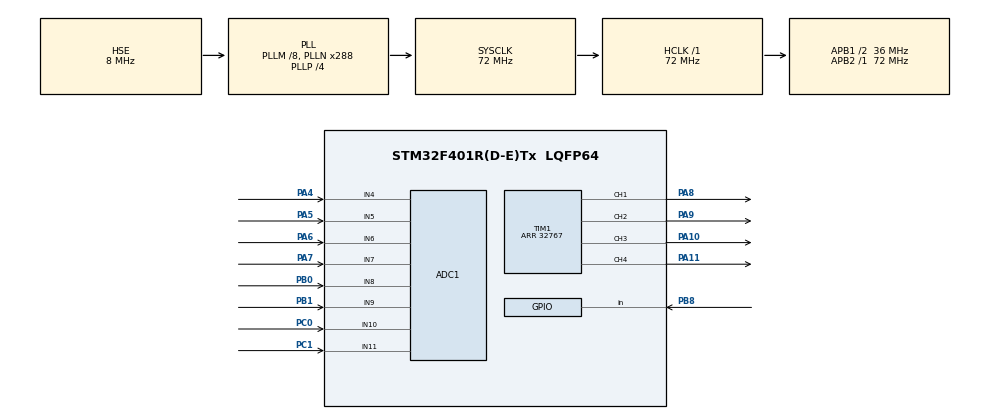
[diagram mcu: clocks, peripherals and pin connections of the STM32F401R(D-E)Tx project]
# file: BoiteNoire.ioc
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ADC1.Channel-10\#ChannelRegularConversion=ADC_CHANNEL_8
ADC1.Channel-11\#ChannelRegularConversion=ADC_CHANNEL_9
ADC1.Channel-4\#ChannelRegularConversion=ADC_CHANNEL_10
ADC1.Channel-5\#ChannelRegularConversion=ADC_CHANNEL_11
ADC1.Channel-6\#ChannelRegularConversion=ADC_CHANNEL_4
ADC1.Channel-7\#ChannelRegularConversion=ADC_CHANNEL_5
ADC1.Channel-8\#ChannelRegularConversion=ADC_CHANNEL_6
ADC1.Channel-9\#ChannelRegularConversion=ADC_CHANNEL_7
ADC1.ContinuousConvMode=ENABLE
ADC1.DMAContinuousRequests=ENABLE
ADC1.NbrOfConversion=8
ADC1.NbrOfConversionFlag=1
ADC1.Rank-10\#ChannelRegularConversion=7
ADC1.Rank-11\#ChannelRegularConversion=8
ADC1.Rank-4\#ChannelRegularConversion=1
ADC1.Rank-5\#ChannelRegularConversion=2
ADC1.Rank-6\#ChannelRegularConversion=3
ADC1.Rank-7\#ChannelRegularConversion=4
ADC1.Rank-8\#ChannelRegularConversion=5
ADC1.Rank-9\#ChannelRegularConversion=6
ADC1.SamplingTime-10\#ChannelRegularConversion=ADC_SAMPLETIME_480CYCLES
ADC1.SamplingTime-11\#ChannelRegularConversion=ADC_SAMPLETIME_480CYCLES
ADC1.SamplingTime-4\#ChannelRegularConversion=ADC_SAMPLETIME_480CYCLES
ADC1.SamplingTime-5\#ChannelRegularConversion=ADC_SAMPLETIME_480CYCLES
ADC1.SamplingTime-6\#ChannelRegularConversion=ADC_SAMPLETIME_480CYCLES
ADC1.SamplingTime-7\#ChannelRegularConversion=ADC_SAMPLETIME_480CYCLES
ADC1.SamplingTime-8\#ChannelRegularConversion=ADC_SAMPLETIME_480CYCLES
ADC1.SamplingTime-9\#ChannelRegularConversion=ADC_SAMPLETIME_480CYCLES
ADC1.ScanConvMode=ENABLE
ADC1.master=1
Dma.ADC1.0.Direction=DMA_PERIPH_TO_MEMORY
Dma.ADC1.0.FIFOMode=DMA_FIFOMODE_DISABLE
Dma.ADC1.0.Instance=DMA2_Stream0
Dma.ADC1.0.MemDataAlignment=DMA_MDATAALIGN_WORD
Dma.ADC1.0.MemInc=DMA_MINC_ENABLE
Dma.ADC1.0.Mode=DMA_CIRCULAR
Dma.ADC1.0.PeriphDataAlignment=DMA_PDATAALIGN_WORD
Dma.ADC1.0.PeriphInc=DMA_PINC_DISABLE
Dma.ADC1.0.Priority=DMA_PRIORITY_LOW
Dma.Request0=ADC1
Mcu.Family=STM32F4
Mcu.Name=STM32F401R(D-E)Tx
Mcu.Package=LQFP64
NVIC.DMA2_Stream0_IRQn=true\:0\:0\:false\:false\:true\:false\:true\:true
NVIC.PriorityGroup=NVIC_PRIORITYGROUP_4
PA10.Signal=S_TIM1_CH3
PA11.Signal=S_TIM1_CH4
PA4.Signal=ADCx_IN4
PA5.Signal=ADCx_IN5
PA6.Signal=ADCx_IN6
PA7.Signal=ADCx_IN7
PA8.Signal=S_TIM1_CH1
PA9.Signal=S_TIM1_CH2
PB0.Signal=ADCx_IN8
PB1.Signal=ADCx_IN9
PB8.Signal=GPIO_Input
PC0.Signal=ADCx_IN10
PC1.Signal=ADCx_IN11
PC14-OSC32_IN.Mode=LSE-External-Oscillator
PC14-OSC32_IN.Signal=RCC_OSC32_IN
PC15-OSC32_OUT.Mode=LSE-External-Oscillator
PC15-OSC32_OUT.Signal=RCC_OSC32_OUT
PH0\ -\ OSC_IN.Mode=HSE-External-Oscillator
PH0\ -\ OSC_IN.Signal=RCC_OSC_IN
PH1\ -\ OSC_OUT.Mode=HSE-External-Oscillator
PH1\ -\ OSC_OUT.Signal=RCC_OSC_OUT
ProjectManager.HeapSize=0x200
ProjectManager.StackSize=0x400
ProjectManager.TargetToolchain=STM32CubeIDE
RCC.48MHZClocksFreq_Value=41142857.14285714
RCC.AHBFreq_Value=72000000
RCC.APB1CLKDivider=RCC_HCLK_DIV2
RCC.APB1Freq_Value=36000000
RCC.APB1TimFreq_Value=72000000
RCC.APB2Freq_Value=72000000
RCC.APB2TimFreq_Value=72000000
RCC.CortexFreq_Value=72000000
RCC.HCLKFreq_Value=72000000
RCC.HSE_VALUE=8000000
RCC.HSI_VALUE=16000000
RCC.PLLM=8
RCC.PLLN=288
RCC.PLLP=RCC_PLLP_DIV4
RCC.PLLQ=7
RCC.PLLSourceVirtual=RCC_PLLSOURCE_HSE
RCC.SYSCLKFreq_VALUE=72000000
RCC.SYSCLKSource=RCC_SYSCLKSOURCE_PLLCLK
RCC.VCOOutputFreq_Value=288000000
SH.ADCx_IN10.0=ADC1_IN10,IN10
SH.ADCx_IN11.0=ADC1_IN11,IN11
SH.ADCx_IN4.0=ADC1_IN4,IN4
SH.ADCx_IN5.0=ADC1_IN5,IN5
SH.ADCx_IN6.0=ADC1_IN6,IN6
SH.ADCx_IN7.0=ADC1_IN7,IN7
SH.ADCx_IN8.0=ADC1_IN8,IN8
SH.ADCx_IN9.0=ADC1_IN9,IN9
SH.S_TIM1_CH1.0=TIM1_CH1,PWM Generation1 CH1
SH.S_TIM1_CH2.0=TIM1_CH2,PWM Generation2 CH2
SH.S_TIM1_CH3.0=TIM1_CH3,PWM Generation3 CH3
SH.S_TIM1_CH4.0=TIM1_CH4,PWM Generation4 CH4
TIM1.AutoReloadPreload=TIM_AUTORELOAD_PRELOAD_ENABLE
TIM1.Channel-PWM\ Generation1\ CH1=TIM_CHANNEL_1
TIM1.Channel-PWM\ Generation2\ CH2=TIM_CHANNEL_2
TIM1.Channel-PWM\ Generation3\ CH3=TIM_CHANNEL_3
TIM1.Channel-PWM\ Generation4\ CH4=TIM_CHANNEL_4
TIM1.Period=32767
board=NUCLEO-F401RE

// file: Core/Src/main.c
/* USER CODE BEGIN Header */
/**
  ******************************************************************************
  * @file           : main.c
  * @brief          : Main program body
  ******************************************************************************
  * @attention
  *
  * Copyright (c) 2026 STMicroelectronics.
  * All rights reserved.
  *
  * This software is licensed under terms that can be found in the LICENSE file
  * in the root directory of this software component.
  * If no LICENSE file comes with this software, it is provided AS-IS.
  *
  ******************************************************************************
  */
/* USER CODE END Header */
#include "main.h"

/* USER CODE BEGIN PD */

uint32_t AD_RES_BUFFER[8];

// debug
uint32_t temp_ad_res1 = 0;
uint32_t temp_ad_res2 = 0;
uint32_t temp_ad_res3 = 0;
uint32_t temp_ad_res4 = 0;
uint32_t temp_ad_res5 = 0;
uint32_t temp_ad_res6 = 0;
uint32_t temp_ad_res7 = 0;
uint32_t temp_ad_res8 = 0;

uint8_t switched = 0;

/* USER CODE END PD */

ADC_HandleTypeDef hadc1;
DMA_HandleTypeDef hdma_adc1;

TIM_HandleTypeDef htim1;

void SystemClock_Config(void);
static void MX_GPIO_Init(void);
static void MX_DMA_Init(void);
static void MX_ADC1_Init(void);
static void MX_TIM1_Init(void);

int main(void)
{

  /* MCU Configuration--------------------------------------------------------*/

  /* Reset of all peripherals, Initializes the Flash interface and the Systick. */
  HAL_Init();

  /* Configure the system clock */
  SystemClock_Config();

  /* Initialize all configured peripherals */
  MX_GPIO_Init();
  MX_DMA_Init();
  MX_ADC1_Init();
  MX_TIM1_Init();
  /* USER CODE BEGIN 2 */
  HAL_TIM_PWM_Start(&htim1, TIM_CHANNEL_1);
  HAL_TIM_PWM_Start(&htim1, TIM_CHANNEL_2);
  HAL_TIM_PWM_Start(&htim1, TIM_CHANNEL_3);
  HAL_TIM_PWM_Start(&htim1, TIM_CHANNEL_4);
  HAL_ADC_Start_DMA(&hadc1, AD_RES_BUFFER, 8);

  /* USER CODE END 2 */

  /* Infinite loop */
  while (1)
  {

  }
}

void SystemClock_Config(void)
{
  RCC_OscInitTypeDef RCC_OscInitStruct = {0};
  RCC_ClkInitTypeDef RCC_ClkInitStruct = {0};

  /** Configure the main internal regulator output voltage
  */
  __HAL_RCC_PWR_CLK_ENABLE();
  __HAL_PWR_VOLTAGESCALING_CONFIG(PWR_REGULATOR_VOLTAGE_SCALE2);

  /** Initializes the RCC Oscillators according to the specified parameters
  * in the RCC_OscInitTypeDef structure.
  */
  RCC_OscInitStruct.OscillatorType = RCC_OSCILLATORTYPE_HSE;
  RCC_OscInitStruct.HSEState = RCC_HSE_ON;
  RCC_OscInitStruct.PLL.PLLState = RCC_PLL_ON;
  RCC_OscInitStruct.PLL.PLLSource = RCC_PLLSOURCE_HSE;
  RCC_OscInitStruct.PLL.PLLM = 8;
  RCC_OscInitStruct.PLL.PLLN = 288;
  RCC_OscInitStruct.PLL.PLLP = RCC_PLLP_DIV4;
  RCC_OscInitStruct.PLL.PLLQ = 7;
  if (HAL_RCC_OscConfig(&RCC_OscInitStruct) != HAL_OK)
  {
    Error_Handler();
  }

  /** Initializes the CPU, AHB and APB buses clocks
  */
  RCC_ClkInitStruct.ClockType = RCC_CLOCKTYPE_HCLK|RCC_CLOCKTYPE_SYSCLK
                              |RCC_CLOCKTYPE_PCLK1|RCC_CLOCKTYPE_PCLK2;
  RCC_ClkInitStruct.SYSCLKSource = RCC_SYSCLKSOURCE_PLLCLK;
  RCC_ClkInitStruct.AHBCLKDivider = RCC_SYSCLK_DIV1;
  RCC_ClkInitStruct.APB1CLKDivider = RCC_HCLK_DIV2;
  RCC_ClkInitStruct.APB2CLKDivider = RCC_HCLK_DIV1;

  if (HAL_RCC_ClockConfig(&RCC_ClkInitStruct, FLASH_LATENCY_2) != HAL_OK)
  {
    Error_Handler();
  }
}

static void MX_ADC1_Init(void)
{

  ADC_ChannelConfTypeDef sConfig = {0};

  /** Configure the global features of the ADC (Clock, Resolution, Data Alignment and number of conversion)
  */
  hadc1.Instance = ADC1;
  hadc1.Init.ClockPrescaler = ADC_CLOCK_SYNC_PCLK_DIV2;
  hadc1.Init.Resolution = ADC_RESOLUTION_12B;
  hadc1.Init.ScanConvMode = ENABLE;
  hadc1.Init.ContinuousConvMode = ENABLE;
  hadc1.Init.DiscontinuousConvMode = DISABLE;
  hadc1.Init.ExternalTrigConvEdge = ADC_EXTERNALTRIGCONVEDGE_NONE;
  hadc1.Init.ExternalTrigConv = ADC_SOFTWARE_START;
  hadc1.Init.DataAlign = ADC_DATAALIGN_RIGHT;
  hadc1.Init.NbrOfConversion = 8;
  hadc1.Init.DMAContinuousRequests = ENABLE;
  hadc1.Init.EOCSelection = ADC_EOC_SINGLE_CONV;
  if (HAL_ADC_Init(&hadc1) != HAL_OK)
  {
    Error_Handler();
  }

  /** Configure for the selected ADC regular channel its corresponding rank in the sequencer and its sample time.
  */
  sConfig.Channel = ADC_CHANNEL_10;
  sConfig.Rank = 1;
  sConfig.SamplingTime = ADC_SAMPLETIME_480CYCLES;
  if (HAL_ADC_ConfigChannel(&hadc1, &sConfig) != HAL_OK)
  {
    Error_Handler();
  }

  /** Configure for the selected ADC regular channel its corresponding rank in the sequencer and its sample time.
  */
  sConfig.Channel = ADC_CHANNEL_11;
  sConfig.Rank = 2;
  if (HAL_ADC_ConfigChannel(&hadc1, &sConfig) != HAL_OK)
  {
    Error_Handler();
  }

  /** Configure for the selected ADC regular channel its corresponding rank in the sequencer and its sample time.
  */
  sConfig.Channel = ADC_CHANNEL_4;
  sConfig.Rank = 3;
  if (HAL_ADC_ConfigChannel(&hadc1, &sConfig) != HAL_OK)
  {
    Error_Handler();
  }

  /** Configure for the selected ADC regular channel its corresponding rank in the sequencer and its sample time.
  */
  sConfig.Channel = ADC_CHANNEL_5;
  sConfig.Rank = 4;
  if (HAL_ADC_ConfigChannel(&hadc1, &sConfig) != HAL_OK)
  {
    Error_Handler();
  }

  /** Configure for the selected ADC regular channel its corresponding rank in the sequencer and its sample time.
  */
  sConfig.Channel = ADC_CHANNEL_6;
  sConfig.Rank = 5;
  if (HAL_ADC_ConfigChannel(&hadc1, &sConfig) != HAL_OK)
  {
    Error_Handler();
  }

  /** Configure for the selected ADC regular channel its corresponding rank in the sequencer and its sample time.
  */
  sConfig.Channel = ADC_CHANNEL_7;
  sConfig.Rank = 6;
  if (HAL_ADC_ConfigChannel(&hadc1, &sConfig) != HAL_OK)
  {
    Error_Handler();
  }

  /** Configure for the selected ADC regular channel its corresponding rank in the sequencer and its sample time.
  */
  sConfig.Channel = ADC_CHANNEL_8;
  sConfig.Rank = 7;
  if (HAL_ADC_ConfigChannel(&hadc1, &sConfig) != HAL_OK)
  {
    Error_Handler();
  }

  /** Configure for the selected ADC regular channel its corresponding rank in the sequencer and its sample time.
  */
  sConfig.Channel = ADC_CHANNEL_9;
  sConfig.Rank = 8;
  if (HAL_ADC_ConfigChannel(&hadc1, &sConfig) != HAL_OK)
  {
    Error_Handler();
  }

}

static void MX_TIM1_Init(void)
{

  TIM_MasterConfigTypeDef sMasterConfig = {0};
  TIM_OC_InitTypeDef sConfigOC = {0};
  TIM_BreakDeadTimeConfigTypeDef sBreakDeadTimeConfig = {0};

  htim1.Instance = TIM1;
  htim1.Init.Prescaler = 0;
  htim1.Init.CounterMode = TIM_COUNTERMODE_UP;
  htim1.Init.Period = 32767;
  htim1.Init.ClockDivision = TIM_CLOCKDIVISION_DIV1;
  htim1.Init.RepetitionCounter = 0;
  htim1.Init.AutoReloadPreload = TIM_AUTORELOAD_PRELOAD_ENABLE;
  if (HAL_TIM_PWM_Init(&htim1) != HAL_OK)
  {
    Error_Handler();
  }
  sMasterConfig.MasterOutputTrigger = TIM_TRGO_RESET;
  sMasterConfig.MasterSlaveMode = TIM_MASTERSLAVEMODE_DISABLE;
  if (HAL_TIMEx_MasterConfigSynchronization(&htim1, &sMasterConfig) != HAL_OK)
  {
    Error_Handler();
  }
  sConfigOC.OCMode = TIM_OCMODE_PWM1;
  sConfigOC.Pulse = 0;
  sConfigOC.OCPolarity = TIM_OCPOLARITY_HIGH;
  sConfigOC.OCNPolarity = TIM_OCNPOLARITY_HIGH;
  sConfigOC.OCFastMode = TIM_OCFAST_DISABLE;
  sConfigOC.OCIdleState = TIM_OCIDLESTATE_RESET;
  sConfigOC.OCNIdleState = TIM_OCNIDLESTATE_RESET;
  if (HAL_TIM_PWM_ConfigChannel(&htim1, &sConfigOC, TIM_CHANNEL_1) != HAL_OK)
  {
    Error_Handler();
  }
  if (HAL_TIM_PWM_ConfigChannel(&htim1, &sConfigOC, TIM_CHANNEL_2) != HAL_OK)
  {
    Error_Handler();
  }
  if (HAL_TIM_PWM_ConfigChannel(&htim1, &sConfigOC, TIM_CHANNEL_3) != HAL_OK)
  {
    Error_Handler();
  }
  if (HAL_TIM_PWM_ConfigChannel(&htim1, &sConfigOC, TIM_CHANNEL_4) != HAL_OK)
  {
    Error_Handler();
  }
  sBreakDeadTimeConfig.OffStateRunMode = TIM_OSSR_DISABLE;
  sBreakDeadTimeConfig.OffStateIDLEMode = TIM_OSSI_DISABLE;
  sBreakDeadTimeConfig.LockLevel = TIM_LOCKLEVEL_OFF;
  sBreakDeadTimeConfig.DeadTime = 0;
  sBreakDeadTimeConfig.BreakState = TIM_BREAK_DISABLE;
  sBreakDeadTimeConfig.BreakPolarity = TIM_BREAKPOLARITY_HIGH;
  sBreakDeadTimeConfig.AutomaticOutput = TIM_AUTOMATICOUTPUT_DISABLE;
  if (HAL_TIMEx_ConfigBreakDeadTime(&htim1, &sBreakDeadTimeConfig) != HAL_OK)
  {
    Error_Handler();
  }
  HAL_TIM_MspPostInit(&htim1);

}

static void MX_DMA_Init(void)
{

  /* DMA controller clock enable */
  __HAL_RCC_DMA2_CLK_ENABLE();

  /* DMA interrupt init */
  /* DMA2_Stream0_IRQn interrupt configuration */
  HAL_NVIC_SetPriority(DMA2_Stream0_IRQn, 0, 0);
  HAL_NVIC_EnableIRQ(DMA2_Stream0_IRQn);

}

static void MX_GPIO_Init(void)
{
  GPIO_InitTypeDef GPIO_InitStruct = {0};

  /* GPIO Ports Clock Enable */
  __HAL_RCC_GPIOC_CLK_ENABLE();
  __HAL_RCC_GPIOH_CLK_ENABLE();
  __HAL_RCC_GPIOA_CLK_ENABLE();
  __HAL_RCC_GPIOB_CLK_ENABLE();

  /*Configure GPIO pin : PB8 */
  GPIO_InitStruct.Pin = GPIO_PIN_8;
  GPIO_InitStruct.Mode = GPIO_MODE_INPUT;
  GPIO_InitStruct.Pull = GPIO_NOPULL;
  HAL_GPIO_Init(GPIOB, &GPIO_InitStruct);

}

/* USER CODE BEGIN 4 */

void HAL_ADC_ConvCpltCallback(ADC_HandleTypeDef* hadc)
{

	switched = HAL_GPIO_ReadPin(GPIOB, GPIO_PIN_8);

	uint16_t in1 = AD_RES_BUFFER[0];
	uint16_t in2 = AD_RES_BUFFER[1];
	uint16_t in3 = AD_RES_BUFFER[2];
	uint16_t in4 = AD_RES_BUFFER[3];
	uint16_t in5 = AD_RES_BUFFER[4];
	uint16_t in6 = AD_RES_BUFFER[5];
	uint16_t in7 = AD_RES_BUFFER[6];
	uint16_t in8 = AD_RES_BUFFER[7];

	temp_ad_res1 = (in1 << 3);
	temp_ad_res2 = (in2 << 3);
	temp_ad_res3 = (in3 << 3);
	temp_ad_res4 = (in4 << 3);
	temp_ad_res5 = (in5 << 3);
	temp_ad_res6 = (in6 << 3);
	temp_ad_res7 = (in7 << 3);
	temp_ad_res8 = (in8 << 3);

	if (switched)
	{
		TIM1->CCR1 = (in1 << 3);
		TIM1->CCR2 = (in2 << 3);
		TIM1->CCR3 = (in3 << 3);
		TIM1->CCR4 = (in4 << 3);
	}
	else
	{
		TIM1->CCR1 = (in5 << 3);
		TIM1->CCR2 = (in6 << 3);
		TIM1->CCR3 = (in7 << 3);
		TIM1->CCR4 = (in8 << 3);

	}

}

/* USER CODE END 4 */

void Error_Handler(void)
{
  __disable_irq();
  while (1)
  {
  }
}
